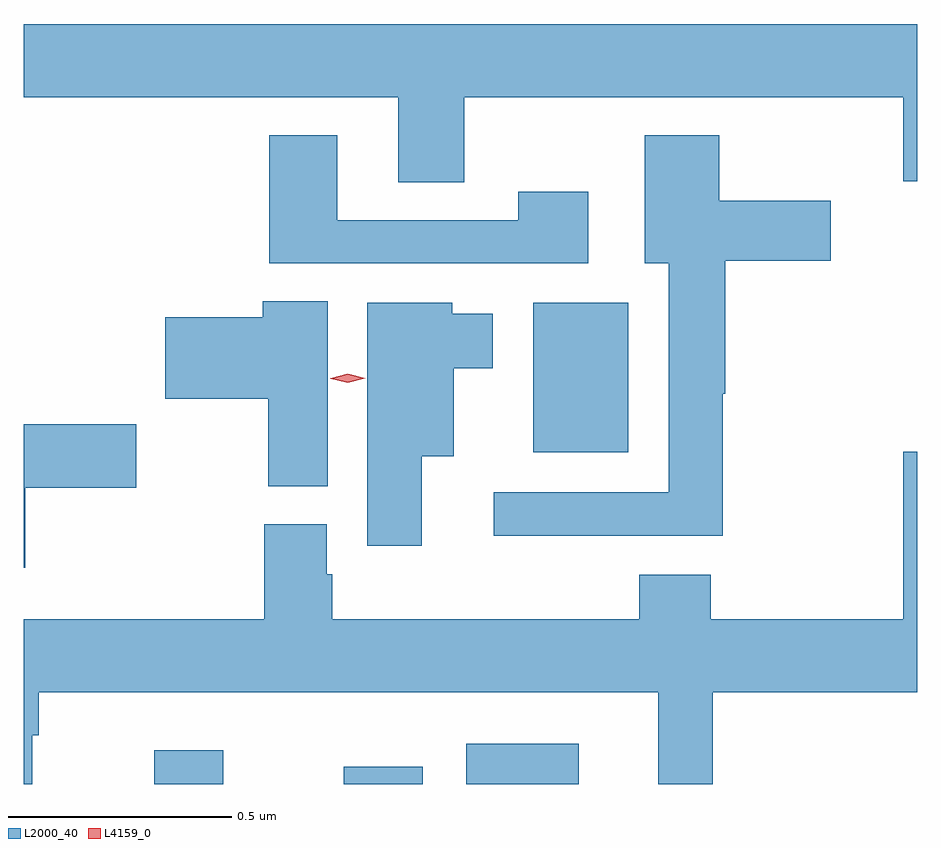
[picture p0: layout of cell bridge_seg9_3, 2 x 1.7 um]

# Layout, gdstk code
import gdstk
lib = gdstk.Library(unit=1e-6, precision=1e-09)
def R(c, l, rs):  # rectangles x0, y0, x1, y1
    for r in rs: c.add(gdstk.rectangle(r[:2], r[2:], *l))
def P(c, l, *ps):  # polygons
    for p in ps: c.add(gdstk.Polygon(p, *l))
L2000_40 = (2000, 40)
L4159_0 = (4159, 0)

bridge_seg9_3 = lib.new_cell('bridge_seg9_3')
R(bridge_seg9_3, L2000_40, [(1050.443,1233.511,1050.598,1233.586), (1050.867,1233.511,1051.044,1233.55), (1051.142,1233.511,1051.393,1233.601), (1051.292,1234.253,1051.504,1234.588)])
P(bridge_seg9_3, L2000_40, [(1051.137,1235.048),(1052.12,1235.048),(1052.12,1234.86),(1052.151,1234.86),(1052.151,1235.212),(1050.151,1235.212),(1050.151,1235.048),(1050.989,1235.048),(1050.989,1234.858),(1051.137,1234.858)],
  [(1051.716,1234.385),(1051.721,1234.385),(1051.721,1234.682),(1051.957,1234.682),(1051.957,1234.816),(1051.708,1234.816),(1051.708,1234.963),(1051.541,1234.963),(1051.541,1234.676),(1051.595,1234.676),(1051.595,1234.164),(1051.203,1234.164),(1051.203,1234.067),(1051.716,1234.067)],
  [(1051.414,1234.837),(1051.258,1234.837),(1051.258,1234.773),(1050.853,1234.773),(1050.853,1234.963),(1050.701,1234.963),(1050.701,1234.677),(1051.414,1234.677)],
  [(1050.832,1234.592),(1050.686,1234.592),(1050.686,1234.556),(1050.468,1234.556),(1050.468,1234.373),(1050.698,1234.373),(1050.698,1234.177),(1050.832,1234.177)],
  [(1051.042,1234.244),(1051.114,1234.244),(1051.114,1234.442),(1051.201,1234.442),(1051.201,1234.564),(1051.11,1234.564),(1051.11,1234.588),(1050.92,1234.588),(1050.92,1234.044),(1051.042,1234.044)],
  [(1050.154,1234.174),(1050.403,1234.174),(1050.403,1234.316),(1050.151,1234.316),(1050.151,1233.995),(1050.154,1233.995)],
  [(1050.17,1233.62),(1050.185,1233.62),(1050.185,1233.716),(1051.571,1233.716),(1051.571,1233.511),(1051.693,1233.511),(1051.693,1233.716),(1052.151,1233.716),(1052.151,1234.255),(1052.12,1234.255),(1052.12,1233.88),(1051.689,1233.88),(1051.689,1233.979),(1051.529,1233.979),(1051.529,1233.88),(1050.842,1233.88),(1050.842,1233.981),(1050.829,1233.981),(1050.829,1234.092),(1050.689,1234.092),(1050.689,1233.88),(1050.151,1233.88),(1050.151,1233.511),(1050.17,1233.511)])
P(bridge_seg9_3, L4159_0, [(1050.876,1234.409),(1050.838,1234.418),(1050.837,1234.419),(1050.838,1234.419),(1050.876,1234.429),(1050.915,1234.419),(1050.915,1234.419),(1050.915,1234.419)])

lib.write_gds('bridge_seg9_3.gds')
